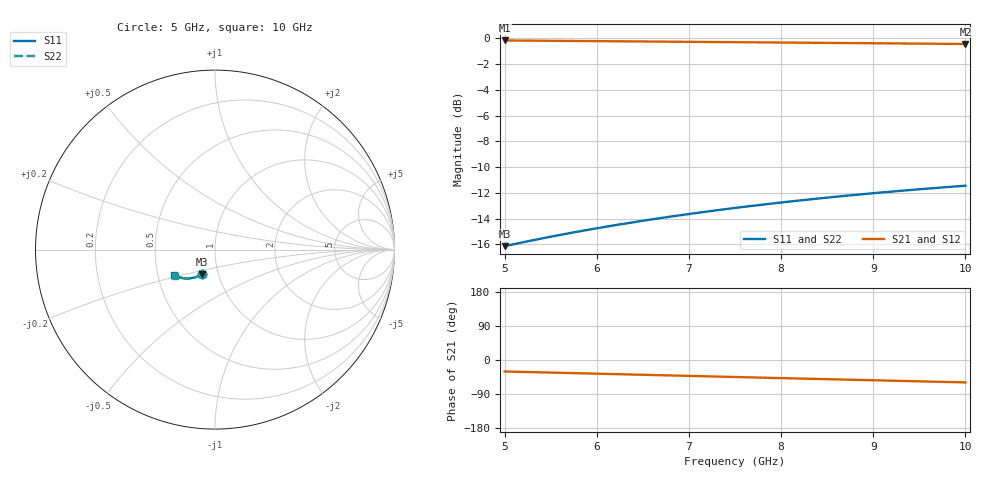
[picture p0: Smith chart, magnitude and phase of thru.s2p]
! Created Mon Nov 11 19:00:54 2024
# hz S ma R 50
! 2 Port Network Data from SP1.SP block
! freq  magS11  angS11  magS21  angS21  magS12  angS12  magS22  angS22
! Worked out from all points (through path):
!   251 points, 5 GHz to 10 GHz, reference 50 ohm
!   highest |S21| = -0.17 dB at 5 GHz (marker M1); lowest = -0.4 dB at 10 GHz (marker M2)
!   group delay of S21, straight-line fit = 16 ps
!   lowest |S11| = -16.1 dB at 5 GHz (marker M3), VSWR 1.37, Z = 41.7 - j11.8 ohm
!   |S11| at or under -10 dB: start of sweep to end of sweep
!   |S22| runs from -16.1 to -11.4 dB; largest |S21 - S12| = 0
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5e9  0.1559 -118.0  0.9805 -30.3  0.9805 -30.3  0.1561 -117.9
5.2e9  0.1615 -119.2  0.9794 -31.5  0.9794 -31.5  0.1617 -119.1
5.4e9  0.167 -120.5  0.9783 -32.6  0.9783 -32.6  0.1672 -120.3
5.6e9  0.1724 -121.7  0.9772 -33.8  0.9772 -33.8  0.1726 -121.5
5.84e9  0.1788 -123.1  0.9758 -35.2  0.9758 -35.2  0.179 -123.0
6e9  0.183 -124.1  0.9748 -36.2  0.9748 -36.2  0.1832 -124.0
6.22e9  0.1887 -125.4  0.9735 -37.5  0.9735 -37.5  0.1889 -125.3
6.42e9  0.1937 -126.6  0.9723 -38.6  0.9723 -38.6  0.194 -126.5
6.68e9  0.2002 -128.2  0.9707 -40.2  0.9707 -40.2  0.2004 -128.0
6.84e9  0.2041 -129.1  0.9697 -41.1  0.9697 -41.1  0.2043 -129.0
7.06e9  0.2093 -130.4  0.9683 -42.4  0.9683 -42.4  0.2096 -130.3
7.26e9  0.214 -131.6  0.967 -43.5  0.967 -43.5  0.2143 -131.4
7.5e9  0.2194 -133.0  0.9655 -44.9  0.9655 -44.9  0.2198 -132.8
7.72e9  0.2243 -134.3  0.9641 -46.2  0.9641 -46.2  0.2247 -134.1
7.92e9  0.2287 -135.5  0.9629 -47.3  0.9629 -47.3  0.229 -135.3
8.14e9  0.2334 -136.8  0.9615 -48.6  0.9615 -48.6  0.2337 -136.6
8.34e9  0.2375 -137.9  0.9602 -49.7  0.9602 -49.7  0.2378 -137.7
8.56e9  0.2419 -139.2  0.9589 -51.0  0.9589 -51.0  0.2423 -139.0
8.76e9  0.2458 -140.4  0.9576 -52.1  0.9576 -52.1  0.2462 -140.2
9.18e9  0.2537 -142.8  0.955 -54.5  0.955 -54.5  0.2541 -142.6
9.6e9  0.2611 -145.2  0.9525 -56.9  0.9525 -56.9  0.2615 -145.0
1e10  0.2677 -147.5  0.9502 -59.1  0.9502 -59.1  0.2682 -147.3
